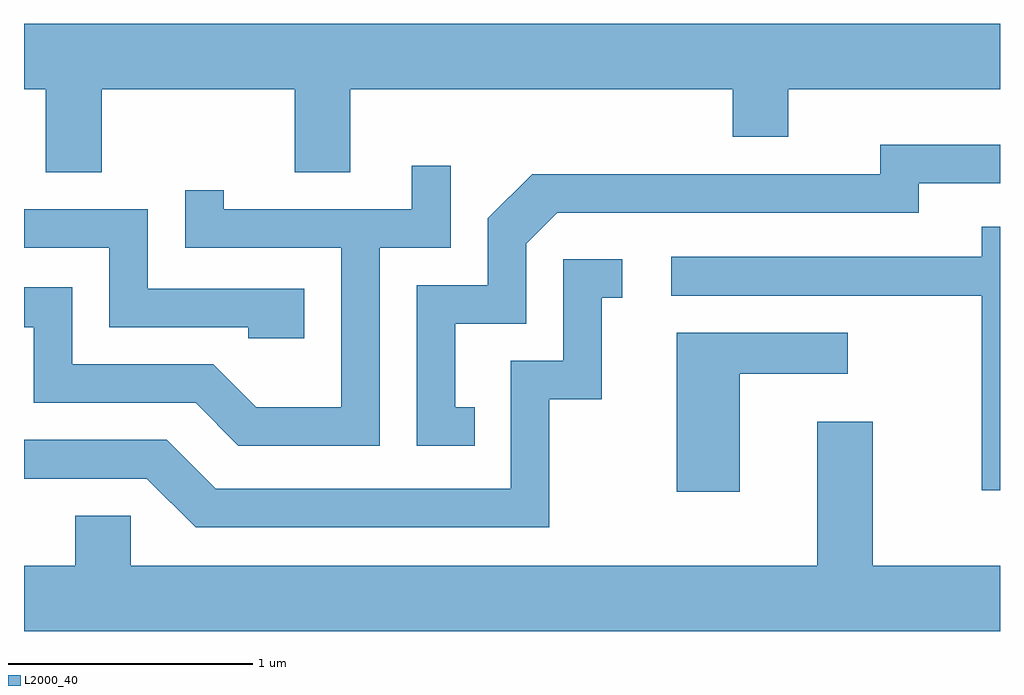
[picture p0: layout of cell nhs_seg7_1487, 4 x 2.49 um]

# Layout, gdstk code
import gdstk
lib = gdstk.Library(unit=1e-6, precision=1e-09)
def P(c, l, *ps):  # polygons
    for p in ps: c.add(gdstk.Polygon(p, *l))
L2000_40 = (2000, 40)

nhs_seg7_1487 = lib.new_cell('nhs_seg7_1487')
P(nhs_seg7_1487, L2000_40, [(229.929,1780.916),(230.721,1780.916),(230.721,1780.576),(230.949,1780.576),(230.949,1780.916),(232.516,1780.916),(232.516,1780.721),(232.744,1780.721),(232.744,1780.916),(233.611,1780.916),(233.611,1781.184),(229.611,1781.184),(229.611,1780.916),(229.701,1780.916),(229.701,1780.576),(229.929,1780.576)],
  [(231.458,1779.614),(231.379,1779.614),(231.379,1779.956),(231.669,1779.956),(231.669,1780.284),(231.797,1780.411),(233.279,1780.411),(233.279,1780.531),(233.611,1780.531),(233.611,1780.689),(233.121,1780.689),(233.121,1780.569),(231.694,1780.569),(231.511,1780.387),(231.511,1780.114),(231.221,1780.114),(231.221,1779.456),(231.458,1779.456)],
  [(231.069,1780.266),(231.359,1780.266),(231.359,1780.603),(231.201,1780.603),(231.201,1780.424),(230.429,1780.424),(230.429,1780.503),(230.271,1780.503),(230.271,1780.266),(230.911,1780.266),(230.911,1779.614),(230.562,1779.614),(230.387,1779.789),(229.809,1779.789),(229.809,1780.104),(229.611,1780.104),(229.611,1779.941),(229.651,1779.941),(229.651,1779.631),(230.314,1779.631),(230.489,1779.456),(231.069,1779.456)],
  [(230.759,1780.099),(230.119,1780.099),(230.119,1780.424),(229.611,1780.424),(229.611,1780.266),(229.961,1780.266),(229.961,1779.941),(230.531,1779.941),(230.531,1779.896),(230.759,1779.896)],
  [(233.611,1780.353),(233.536,1780.353),(233.536,1780.229),(232.263,1780.229),(232.263,1780.071),(233.536,1780.071),(233.536,1779.273),(233.611,1779.273)],
  [(231.764,1779.646),(231.979,1779.646),(231.979,1780.061),(232.063,1780.061),(232.063,1780.219),(231.821,1780.219),(231.821,1779.804),(231.606,1779.804),(231.606,1779.279),(230.397,1779.279),(230.197,1779.479),(229.611,1779.479),(229.611,1779.321),(230.114,1779.321),(230.314,1779.121),(231.764,1779.121)],
  [(232.544,1779.751),(232.988,1779.751),(232.988,1779.919),(232.286,1779.919),(232.286,1779.266),(232.544,1779.266)],
  [(233.611,1778.964),(233.089,1778.964),(233.089,1779.554),(232.861,1779.554),(232.861,1778.964),(230.049,1778.964),(230.049,1779.169),(229.821,1779.169),(229.821,1778.964),(229.611,1778.964),(229.611,1778.696),(233.611,1778.696)])

lib.write_gds('nhs_seg7_1487.gds')
